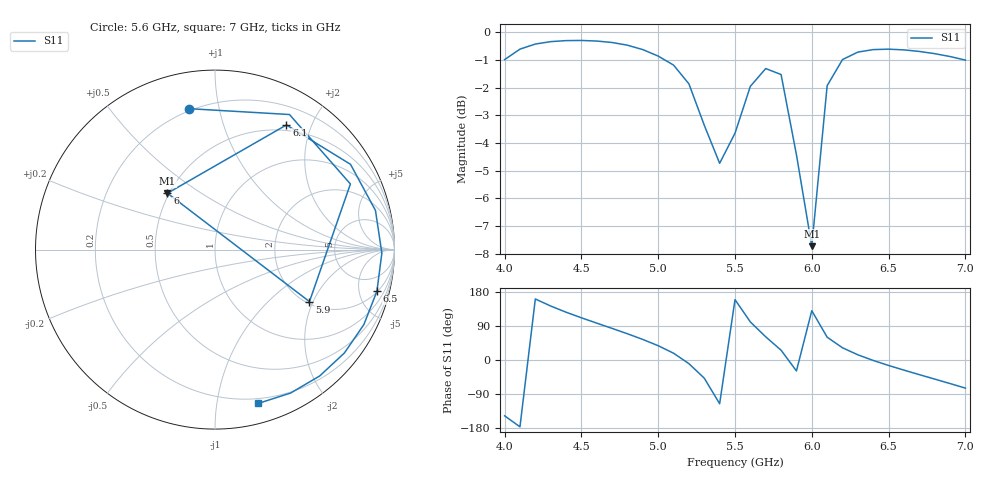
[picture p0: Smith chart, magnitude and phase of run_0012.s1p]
! Touchstone file exported from HFSS 2024.2.0
!  File:  C:/Users/wsak9/Desktop/Sim Fast/Widenad Patch/WP_AI_V1_sweep.aedt
!  Generated:  03:14:18 PM Oct 13, 2026
!  Design:  A1_model
!  Project:  WP_AI_V1_sweep
!  Setup:  Setup1
!  Solution:  Sweep
! Variables:
!  Air_gap = 4.88mm
!  Curve_Amp1 = 3.65
!  Curve_len1 = 1
!  Curve_pos = 10.4mm
!  Extra = 7.4mm
!  H_sub = 0.79mm
!  L_Patch = 16.8mm
!  L_Patch1 = 22.01mm
!  Sx = 0.37mm
!  Sy = 0.97mm
!  WS = 0.43mm
!  W_Patch = 18.56mm
!  W_Patch1 = 14.61mm
!Data is not renormalized
# GHz S MA
! Terminal data exported
! Port[1] = 1
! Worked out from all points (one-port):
!   31 points, 4 GHz to 7 GHz, reference per port
!   lowest |S11| = -7.7 dB at 6 GHz (marker M1), VSWR 2.39
!   |S11| at or under -10 dB: nowhere
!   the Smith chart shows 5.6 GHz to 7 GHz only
!   S11 on the Smith chart (normalised r, x): 5.6 GHz: 0.19, +0.82; 5.9 GHz: 2.07, -1.88; 6 GHz: 0.49, +0.37; 6.1 GHz: 0.43, +1.64; 6.5 GHz: 2.09, -7.32; 7 GHz: 0.16, -1.31
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4  0.8919 -147.2
4.1  0.9316 -176.4
4.2  0.9515 161.0
4.3  0.9611 142.4
4.4  0.9652 126.2
4.5  0.9658 111.4
4.6  0.9635 97.3
4.8  0.9469 69.2
4.9  0.9297 54.2
5  0.905 37.7
5.1  0.8718 17.9
5.2  0.8065 -9.6
5.3  0.6789 -47.9
5.4  0.5797 -115.5
5.5  0.6569 159.3
5.6  0.7983 100.4
5.7  0.8594 61.1
5.8  0.8383 25.9
5.9  0.6008 -28.8
6  0.4109 130.1
6.1  0.8004 60.2
6.2  0.8921 32.2
6.3  0.9203 13.7
6.4  0.9298 -1.2
6.5  0.9315 -14.4
6.7  0.9227 -38.6
6.9  0.9034 -62.2
7  0.8902 -74.2
